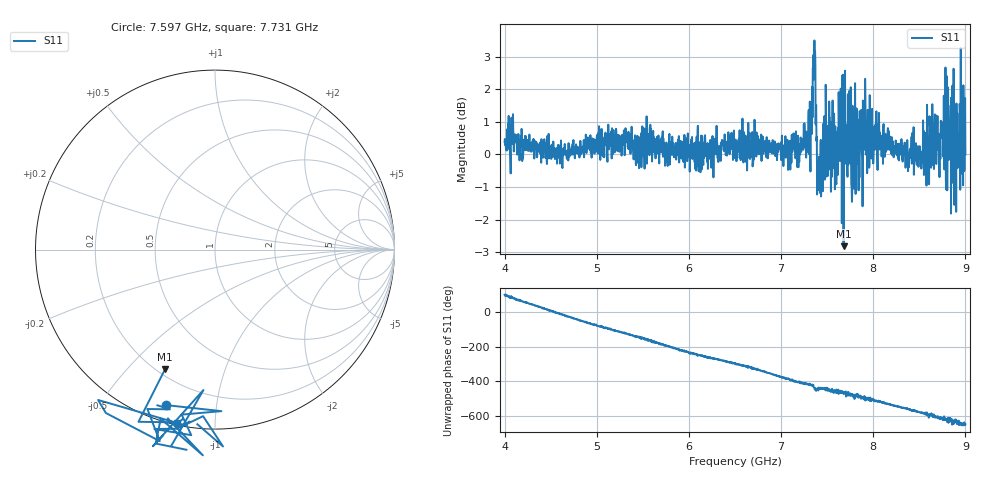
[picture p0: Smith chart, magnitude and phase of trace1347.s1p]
! Created with skrf 1.8.0 (http://scikit-rf.org).
# Hz S RI R 50.0
!freq ReS11 ImS11
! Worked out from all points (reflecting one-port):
!   1601 points, 4 GHz to 9 GHz, reference 50 ohm
!   lowest |S11| = -2.8 dB at 7.678 GHz (marker M1), VSWR 6.24, Z = 11.4 - j32.1 ohm
!   phase of S11 starts at 100 deg and turns -748 deg over the sweep
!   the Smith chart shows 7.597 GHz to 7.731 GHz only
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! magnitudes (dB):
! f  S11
! 4 GHz  0.4
! 4.625 GHz  -0.4
! 5.25 GHz  0.1
! 5.875 GHz  0.1
! 6.5 GHz  0.1
! 7.125 GHz  0.4
! 7.294 GHz  0.2
! 7.35 GHz  3.0
! 7.369 GHz  3.2
! 7.4 GHz  -0.2
! 7.416 GHz  -0.5
! 7.509 GHz  -0.7
! 7.591 GHz  0.7
! 7.65 GHz  1.5
! 7.678 GHz  -2.8
! 7.688 GHz  2.3
! 7.703 GHz  -0.1
! 7.75 GHz  0.0
! 7.784 GHz  -0.8
! 7.8 GHz  -1.0
! 7.922 GHz  0.1
! 8.375 GHz  -0.1
! 8.581 GHz  0.3
! 8.656 GHz  0.4
! 8.759 GHz  0.5
! 8.906 GHz  0.5
! 8.972 GHz  1.1
! 9 GHz  0.0
